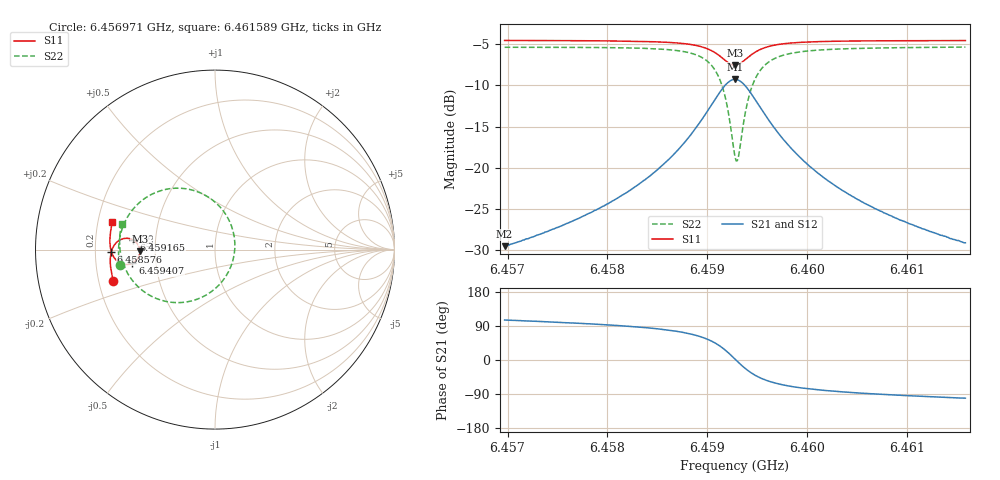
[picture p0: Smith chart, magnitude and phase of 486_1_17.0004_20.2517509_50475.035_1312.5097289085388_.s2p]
#  HZ  S  RI  R  50.00
! Rohde & Schwarz Vector Network Analyzer
! Rohde-Schwarz,ZNB20-2Port,1311601062101988,3.16
! Created: UTC 3/20/2024, 11:13:52 PM
! freq[Hz]  re:S11  im:S11  re:S21  im:S21  re:S12  im:S12  re:S22  im:S22
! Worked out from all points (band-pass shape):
!   401 points, 6.456971 GHz to 6.461589 GHz, reference 50 ohm
!   highest |S21| = -9.26 dB at 6.45928 GHz (marker M1); lowest = -29.5 dB at 6.456971 GHz (marker M2)
!   |S21| within 3 dB of the highest: 6.459049 GHz to 6.459511 GHz (461.9 kHz wide, 0.00715 % of centre)
!   lowest |S11| = -7.6 dB at 6.45928 GHz (marker M3), VSWR 2.44, Z = 20.5 - j0.493 ohm
!   |S11| at or under -10 dB: nowhere
!   |S22| runs from -19.2 to -5.4 dB; largest |S21 - S12| = 0.014
!   S11 on the Smith chart (normalised r, x): 6.456971 GHz: 0.26, -0.14; 6.458576 GHz: 0.27, -0.01; 6.459165 GHz: 0.37, +0.05; 6.459407 GHz: 0.37, -0.07; 6.461589 GHz: 0.26, +0.12
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6.4569708e9  -0.5666 -0.1727  -0.00895 0.0323  -0.00726 0.0322  -0.5316 -0.0853
6.4577444e9  -0.5807 -0.105  -0.0057 0.0503  -0.00309 0.0496  -0.5372 0.00462
6.4581832e9  -0.5836 -0.0611  0.000487 0.0703  0.0038 0.0689  -0.5288 0.0743
6.458518e9  -0.5798 -0.0209  0.0141 0.0983  0.0179 0.0956  -0.504 0.1498
6.4585758e9  -0.578 -0.0131  0.0183 0.1052  0.0224 0.1021  -0.4958 0.1664
6.4587836e9  -0.5651 0.019  0.0456 0.1374  0.0499 0.1324  -0.4446 0.239
6.4589337e9  -0.5427 0.0452  0.0908 0.1679  0.094 0.1612  -0.3615 0.3034
6.4590723e9  -0.4989 0.0627  0.1776 0.1844  0.1786 0.1771  -0.2029 0.3421
6.4591646e9  -0.4547 0.0527  0.2672 0.1534  0.2673 0.1475  -0.037 0.2924
6.4592108e9  -0.4335 0.034  0.3107 0.1108  0.3119 0.1056  0.0456 0.2165
6.4592801e9  -0.4187 -0.00992  0.3439 0.0144  0.3474 0.00749  0.1106 0.0375
6.4592916e9  -0.4192 -0.0179  0.3436 -0.00325  0.3474 -0.011  0.1102 0.00387
6.4593147e9  -0.4227 -0.0334  0.3383 -0.0379  0.342 -0.047  0.0992 -0.0617
6.4593609e9  -0.4383 -0.0595  0.3098 -0.0975  0.312 -0.1095  0.0422 -0.1745
6.4594071e9  -0.4601 -0.0756  0.2679 -0.1385  0.2671 -0.1517  -0.0425 -0.2493
6.4594995e9  -0.5033 -0.0823  0.1835 -0.1696  0.1773 -0.1812  -0.2108 -0.2954
6.4596496e9  -0.547 -0.0619  0.0959 -0.1559  0.0874 -0.1622  -0.378 -0.2463
6.4598112e9  -0.5685 -0.0343  0.0511 -0.1282  0.0436 -0.1309  -0.4582 -0.1744
6.4600537e9  -0.5811 0.00131  0.0223 -0.0969  0.0164 -0.0973  -0.5059 -0.0922
6.4603655e9  -0.5854 0.0387  0.00718 -0.0721  0.00306 -0.0717  -0.5263 -0.0198
6.4608274e9  -0.5835 0.0852  -0.00145 -0.0516  -0.0043 -0.0508  -0.5316 0.055
6.4615894e9  -0.5712 0.1526  -0.00651 -0.0345  -0.00821 -0.0335  -0.5201 0.1447
